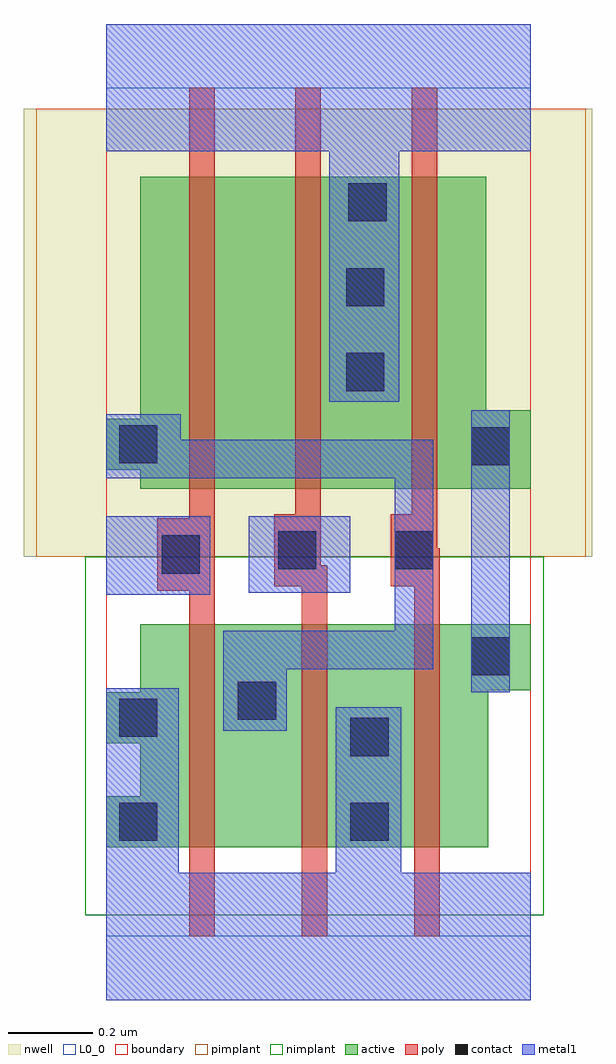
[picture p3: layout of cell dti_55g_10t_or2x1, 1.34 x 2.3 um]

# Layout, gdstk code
from math import pi, radians
import gdstk
lib = gdstk.Library(unit=1e-6, precision=1e-09)
def R(c, l, rs):  # rectangles x0, y0, x1, y1
    for r in rs: c.add(gdstk.rectangle(r[:2], r[2:], *l))
def A(c, l, x, y, w, h, nx, ny, dx, dy):  # array of equal rectangles
    R(c, l, [(x+i*dx, y+j*dy, x+i*dx+w, y+j*dy+h) for i in range(nx) for j in range(ny)])
L0_0 = (0, 0)
nwell = (3, 0)
active = (6, 0)
poly = (17, 0)
pimplant = (25, 0)
nimplant = (26, 0)
contact = (30, 0)
metal1 = (31, 0)
boundary = (108, 0)
L923_0 = (923, 0)

template_55g_10t = lib.new_cell('template_55g_10t')
R(template_55g_10t, metal1, [(0,-0.15,0.2,0.15), (0,1.85,0.2,2.15)])
template_55g_10t.add(gdstk.FlexPath([(0.2,0.21),(0,0.21)], 0, ends="flush", simple_path=True, layer=923, datatype=0))  # L923_0
template_55g_10t.add(gdstk.FlexPath([(0.2,0.735),(0,0.735)], 0, ends="flush", simple_path=True, layer=923, datatype=0))  # L923_0
template_55g_10t.add(gdstk.FlexPath([(0.2,0.895),(0,0.895)], 0, ends="flush", simple_path=True, layer=923, datatype=0))  # L923_0
template_55g_10t.add(gdstk.FlexPath([(0.2,1.055),(0,1.055)], 0, ends="flush", simple_path=True, layer=923, datatype=0))  # L923_0
template_55g_10t.add(gdstk.FlexPath([(0.2,1.79),(0,1.79)], 0, ends="flush", simple_path=True, layer=923, datatype=0))  # L923_0

cellgrid_nom2 = lib.new_cell('cellgrid_noM2')
R(cellgrid_nom2, L0_0, [(0,0,0.2,0.2)])
cellgrid_nom2.add(gdstk.FlexPath([(0.2,0),(0,0.2)], 0, ends="flush", simple_path=True, layer=0, datatype=0))  # L0_0
cellgrid_nom2.add(gdstk.FlexPath([(0.2,0.2),(0,0)], 0, ends="flush", simple_path=True, layer=0, datatype=0))  # L0_0

pmos_735_n_2 = lib.new_cell('pmos_735_n_2')
R(pmos_735_n_2, nwell, [(-0.275,-0.16,0.335,0.895)])
R(pmos_735_n_2, active, [(-0.115,0,0.175,0.735)])
R(pmos_735_n_2, poly, [(0,-0.14,0.06,0.875)])
R(pmos_735_n_2, pimplant, [(-0.245,-0.16,0.305,0.895)])

nmos_525_n_2 = lib.new_cell('nmos_525_n_2')
R(nmos_525_n_2, active, [(-0.115,0,0.175,0.525)])
R(nmos_525_n_2, poly, [(0,-0.14,0.06,0.665)])
R(nmos_525_n_2, nimplant, [(-0.245,-0.16,0.305,0.685)])

cnt_n = lib.new_cell('cnt_n')
R(cnt_n, active, [(-0.06,-0.075,0.06,0.075)])
R(cnt_n, contact, [(-0.045,-0.045,0.045,0.045)])
R(cnt_n, metal1, [(-0.045,-0.045,0.045,0.045)])

cnt = lib.new_cell('cnt')
R(cnt, contact, [(-0.045,-0.045,0.045,0.045)])
R(cnt, metal1, [(-0.045,-0.045,0.045,0.045)])

pcnt_v = lib.new_cell('pcnt_v')
R(pcnt_v, poly, [(-0.055,-0.085,0.055,0.085)])
pcnt_v.add(gdstk.Reference(cnt, (0,0)))

dti_55g_10t_or2x1 = lib.new_cell('dti_55g_10t_or2x1')
R(dti_55g_10t_or2x1, nwell, [(-0.195,0.895,1.145,1.95)])
R(dti_55g_10t_or2x1, active, [(0.895,0.58,1,0.735), (0.895,1.055,1,1.24)])
A(dti_55g_10t_or2x1, poly, 0.195, 0, 0.06, 0.07, 3, 1, 0.265, 0)
R(dti_55g_10t_or2x1, poly, [(0.195,0.875,0.255,0.915), (0.445,0.875,0.505,0.915), (0.725,0.875,0.785,0.915), (0.195,1.93,0.255,2), (0.445,1.93,0.505,2), (0.72,1.93,0.78,2)])
R(dti_55g_10t_or2x1, pimplant, [(-0.165,0.895,1.13,1.95)])
R(dti_55g_10t_or2x1, metal1, [(0,0.15,0.17,0.585), (0.54,0.15,0.695,0.54), (0.275,0.485,0.425,0.63), (0.86,0.575,0.95,1.24), (0.275,0.63,0.68,0.72), (0.68,0.63,0.77,0.82), (0,0.805,0.245,0.99), (0.335,0.81,0.575,0.99), (0.68,0.82,0.77,1.02), (0.68,1.02,0.77,1.11), (0,1.08,0.175,1.23), (0.175,1.08,0.77,1.17), (0,1.1,0.175,1.225), (0.525,1.26,0.69,1.85)])
R(dti_55g_10t_or2x1, boundary, [(0,-0.15,1,2.15)])
r = gdstk.Reference(template_55g_10t, (0,0)); r.repetition = gdstk.Repetition(5, 1, v1=(0.2,0), v2=(0,0)); dti_55g_10t_or2x1.add(r)
r = gdstk.Reference(cellgrid_nom2, (0,0)); r.repetition = gdstk.Repetition(5, 10, v1=(0.2,0), v2=(0,0.2)); dti_55g_10t_or2x1.add(r)
dti_55g_10t_or2x1.add(gdstk.Reference(pmos_735_n_2, (0.195,1.055)))
dti_55g_10t_or2x1.add(gdstk.Reference(pmos_735_n_2, (0.445,1.055)))
dti_55g_10t_or2x1.add(gdstk.Reference(pmos_735_n_2, (0.72,1.055)))
dti_55g_10t_or2x1.add(gdstk.Reference(nmos_525_n_2, (0.195,0.21)))
dti_55g_10t_or2x1.add(gdstk.Reference(nmos_525_n_2, (0.46,0.21)))
dti_55g_10t_or2x1.add(gdstk.Reference(nmos_525_n_2, (0.725,0.21)))
dti_55g_10t_or2x1.add(gdstk.Reference(cnt_n, (0.075,0.27), rotation=pi/2))
dti_55g_10t_or2x1.add(gdstk.Reference(cnt_n, (0.075,0.515), rotation=pi/2))
dti_55g_10t_or2x1.add(gdstk.Reference(pcnt_v, (0.725,0.91)))
dti_55g_10t_or2x1.add(gdstk.Reference(cnt, (0.355,0.555)))
dti_55g_10t_or2x1.add(gdstk.Reference(cnt_n, (0.075,1.16), rotation=pi/2))
dti_55g_10t_or2x1.add(gdstk.Reference(pcnt_v, (0.175,0.9), rotation=pi))
dti_55g_10t_or2x1.add(gdstk.Reference(pcnt_v, (0.45,0.91)))
dti_55g_10t_or2x1.add(gdstk.Reference(cnt_n, (0.615,1.73), rotation=pi/2))
dti_55g_10t_or2x1.add(gdstk.Reference(cnt_n, (0.61,1.53), rotation=pi/2))
dti_55g_10t_or2x1.add(gdstk.Reference(cnt_n, (0.61,1.33), rotation=pi/2))
dti_55g_10t_or2x1.add(gdstk.Reference(cnt_n, (0.62,0.27), rotation=3*pi/2))
dti_55g_10t_or2x1.add(gdstk.Reference(cnt_n, (0.62,0.47), rotation=3*pi/2))
dti_55g_10t_or2x1.add(gdstk.Reference(cnt_n, (0.905,1.155), rotation=3*pi/2))
dti_55g_10t_or2x1.add(gdstk.Reference(cnt_n, (0.905,0.66), rotation=3*pi/2))

lib.write_gds('dti_55g_10t_or2x1.gds')
